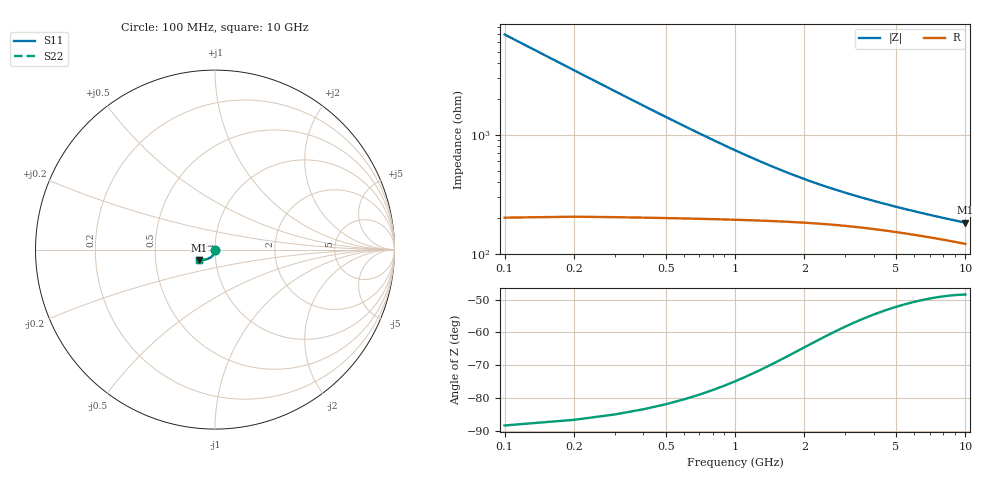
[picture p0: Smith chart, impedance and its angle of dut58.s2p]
! Touchstone file exported from HFSS 2024.1.0
!  File:  C:/UserFiles/LocalFiles/RDL_TSV_Batchsim/temp_TSV1_58_1778749093.aedt
!  Generated:  05:02:42 PM May 14, 2026
!  Design:  TSV1
!  Project:  temp_TSV1_58_1778749093
!  Setup:  Setup1
!  Solution:  Sweep
! Variables:
!  dtsv = 20.28um
!  hbump = 3um
!  htsv = 93.51um
!  lrdl = 252.1521522um
!  p = 40
!  p1 = 51.98um
!  t = 500um
!  trdl = 3um
!  wrdl = 24.89489489um
# GHz S MA R 50.000000
! Terminal data exported
! Port[1] = TSV22_T1
! Port[2] = TSV22_T2
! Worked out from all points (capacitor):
!   100 points, 100 MHz to 10 GHz, reference 50 ohm
!   read as one part in shunt: C = 228 fF near 100 MHz
!   lowest |Z| = 183 ohm at 10 GHz (marker M1)
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0.1  0.003252 -90.6  0.9998 -0.2  0.9998 -0.2  0.003252 -90.6
! Gamma 0 0 0 0
! Port Impedance 50 0 50 0
0.2  0.006502 -93.3  0.9995 -0.4  0.9995 -0.4  0.006502 -93.3
0.3  0.009731 -95.4  0.9989 -0.7  0.9989 -0.7  0.009731 -95.4
0.4  0.01292 -97.4  0.9981 -0.9  0.9981 -0.9  0.01292 -97.4
0.5  0.01605 -99.3  0.9972 -1.1  0.9972 -1.1  0.01605 -99.3
0.6  0.01911 -101.1  0.9961 -1.3  0.9961 -1.3  0.01911 -101.1
0.7  0.0221 -102.9  0.9949 -1.5  0.9949 -1.5  0.0221 -102.9
0.8  0.025 -104.6  0.9935 -1.7  0.9935 -1.7  0.025 -104.6
0.9  0.02781 -106.3  0.9921 -1.8  0.9921 -1.8  0.02781 -106.3
1.1  0.03313 -109.4  0.989 -2.2  0.989 -2.2  0.03313 -109.4
1.4  0.04037 -113.7  0.9839 -2.6  0.9839 -2.6  0.04037 -113.7
1.6  0.0447 -116.3  0.9805 -2.9  0.9805 -2.9  0.0447 -116.3
1.8  0.04867 -118.7  0.9772 -3.1  0.9772 -3.1  0.04867 -118.7
2.1  0.054 -121.8  0.9722 -3.4  0.9722 -3.4  0.054 -121.8
2.5  0.06013 -125.3  0.9662 -3.7  0.9662 -3.7  0.06013 -125.3
2.9  0.06537 -128.2  0.9607 -4.0  0.9607 -4.0  0.06537 -128.2
3.4  0.07098 -131.2  0.9546 -4.3  0.9546 -4.3  0.07098 -131.2
4.2  0.07838 -134.9  0.9463 -4.7  0.9463 -4.7  0.07838 -134.9
5.1  0.08514 -138.0  0.9387 -5.1  0.9387 -5.1  0.08514 -138.0
6.7  0.09452 -141.9  0.9281 -5.8  0.9281 -5.8  0.09452 -141.9
8.4  0.1021 -144.7  0.9196 -6.4  0.9196 -6.4  0.1021 -144.7
10  0.1076 -146.6  0.9135 -7.0  0.9135 -7.0  0.1076 -146.6
